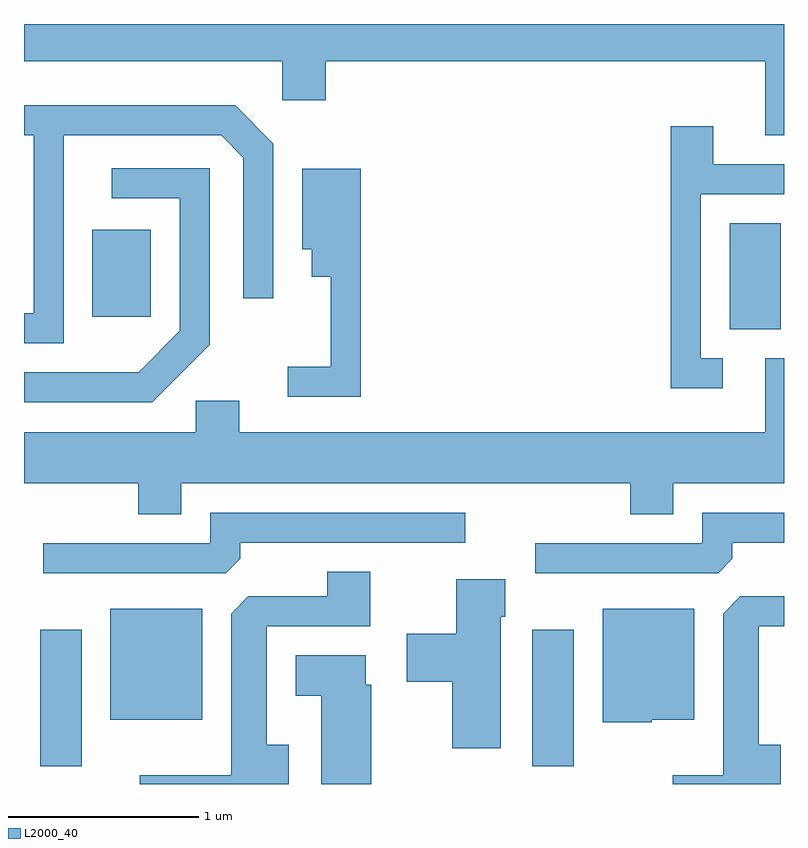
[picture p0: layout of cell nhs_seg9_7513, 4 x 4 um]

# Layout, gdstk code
import gdstk
lib = gdstk.Library(unit=1e-6, precision=1e-09)
def R(c, l, rs):  # rectangles x0, y0, x1, y1
    for r in rs: c.add(gdstk.rectangle(r[:2], r[2:], *l))
def P(c, l, *ps):  # polygons
    for p in ps: c.add(gdstk.Polygon(p, *l))
L2000_40 = (2000, 40)

nhs_seg9_7513 = lib.new_cell('nhs_seg9_7513')
R(nhs_seg9_7513, L2000_40, [(407.696,2012.526,407.914,2013.244), (410.286,2012.526,410.504,2013.244), (408.066,2012.771,408.549,2013.354), (411.326,2014.826,411.594,2015.384), (407.971,2014.891,408.279,2015.349)])
P(nhs_seg9_7513, L2000_40, [(411.611,2016.432),(407.611,2016.432),(407.611,2016.236),(408.971,2016.236),(408.971,2016.031),(409.199,2016.031),(409.199,2016.236),(411.511,2016.236),(411.511,2015.846),(411.611,2015.846)],
  [(407.819,2015.846),(408.649,2015.846),(408.766,2015.729),(408.766,2014.988),(408.924,2014.988),(408.924,2015.802),(408.722,2016.004),(407.611,2016.004),(407.611,2015.846),(407.661,2015.846),(407.661,2014.909),(407.611,2014.909),(407.611,2014.751),(407.819,2014.751)],
  [(411.288,2014.674),(411.174,2014.674),(411.174,2015.536),(411.611,2015.536),(411.611,2015.694),(411.239,2015.694),(411.239,2015.894),(411.016,2015.894),(411.016,2014.516),(411.288,2014.516)],
  [(408.589,2014.744),(408.589,2015.674),(408.073,2015.674),(408.073,2015.516),(408.431,2015.516),(408.431,2014.817),(408.214,2014.599),(407.611,2014.599),(407.611,2014.441),(408.287,2014.441)],
  [(409.384,2015.669),(409.076,2015.669),(409.076,2015.246),(409.126,2015.246),(409.126,2015.101),(409.226,2015.101),(409.226,2014.629),(408.998,2014.629),(408.998,2014.471),(409.384,2014.471)],
  [(408.439,2014.016),(410.801,2014.016),(410.801,2013.851),(411.029,2013.851),(411.029,2014.016),(411.611,2014.016),(411.611,2014.674),(411.511,2014.674),(411.511,2014.284),(408.744,2014.284),(408.744,2014.449),(408.516,2014.449),(408.516,2014.284),(407.611,2014.284),(407.611,2014.016),(408.211,2014.016),(408.211,2013.851),(408.439,2013.851)],
  [(411.339,2013.617),(411.339,2013.701),(411.611,2013.701),(411.611,2013.859),(411.181,2013.859),(411.181,2013.699),(410.303,2013.699),(410.303,2013.541),(411.264,2013.541)],
  [(408.749,2013.617),(408.749,2013.701),(409.933,2013.701),(409.933,2013.859),(408.591,2013.859),(408.591,2013.699),(407.713,2013.699),(407.713,2013.541),(408.674,2013.541)],
  [(409.004,2012.639),(408.889,2012.639),(408.889,2013.261),(409.434,2013.261),(409.434,2013.549),(409.206,2013.549),(409.206,2013.419),(408.792,2013.419),(408.701,2013.329),(408.701,2012.479),(408.221,2012.479),(408.221,2012.432),(409.004,2012.432)],
  [(410.119,2013.311),(410.144,2013.311),(410.144,2013.509),(409.886,2013.509),(409.886,2013.224),(409.626,2013.224),(409.626,2012.971),(409.866,2012.971),(409.866,2012.621),(410.119,2012.621)],
  [(411.594,2012.639),(411.479,2012.639),(411.479,2013.261),(411.611,2013.261),(411.611,2013.419),(411.382,2013.419),(411.291,2013.329),(411.291,2012.479),(411.026,2012.479),(411.026,2012.432),(411.594,2012.432)],
  [(410.915,2012.771),(411.139,2012.771),(411.139,2013.354),(410.656,2013.354),(410.656,2012.756),(410.915,2012.756)],
  [(409.439,2012.954),(409.409,2012.954),(409.409,2013.109),(409.041,2013.109),(409.041,2012.896),(409.176,2012.896),(409.176,2012.432),(409.439,2012.432)])

lib.write_gds('nhs_seg9_7513.gds')
